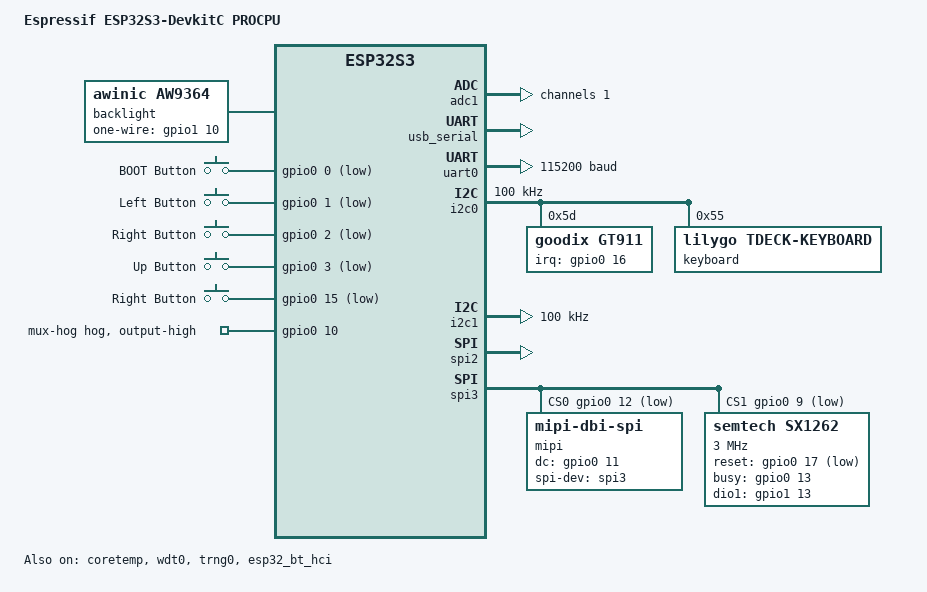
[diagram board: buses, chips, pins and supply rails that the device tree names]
/*
 * Copyright (c) 2024 Espressif Systems (Shanghai) Co., Ltd.
 *
 * SPDX-License-Identifier: Apache-2.0
 */
/dts-v1/;

#include <espressif/esp32s3/esp32s3_wroom_n16r8.dtsi>

#include <zephyr/dt-bindings/input/input-event-codes.h>
#include <zephyr/dt-bindings/input/esp32-touch-sensor-input.h>
#include <espressif/partitions_0x0_amp.dtsi>
#include "tdeck-pinctrl.dtsi"
#include <zephyr/dt-bindings/lvgl/lvgl.h>
#include <zephyr/dt-bindings/lora/sx126x.h>

/ {
	model = "Espressif ESP32S3-DevkitC PROCPU";
	compatible = "espressif,esp32s3";

	aliases {
		i2c-0 = &i2c0;
		watchdog0 = &wdt0;
		lora0 = &sx1262;
	};

	chosen {
		zephyr,sram = &sram1;
		zephyr,console = &usb_serial;
		zephyr,shell-uart = &usb_serial;
		zephyr,flash = &flash0;
		zephyr,code-partition = &slot0_partition;
		zephyr,bt-hci = &esp32_bt_hci;
		zephyr,display = &st7789v;
		zephyr,touch = &gt911;
	};

	aliases {
		uart-0 = &uart0;
		sw0 = &button0;
	};




//	leds {
//		compatible = "gpio-leds";
//		stuffenable: stuffenable0 {
//			gpios = <&gpio0 10 (GPIO_ACTIVE_HIGH)>; // IO10
//			label = "Stuff enable GPIO";
//		};
//	};
	backlight: backlight{
		compatible = "awinic,aw9364";
		status = "okay";
		one-wire-gpios = <&gpio1 10 GPIO_ACTIVE_HIGH>;
		initial-brightness = <15>;
	};

	buttons: buttons {
		compatible = "gpio-keys";
		debounce-interval-ms = <10>;

		button0: button_0 {
			gpios = <&gpio0 0 (GPIO_PULL_UP | GPIO_ACTIVE_LOW)>;
			label = "BOOT Button";
			zephyr,code = <INPUT_KEY_POWER>;
		};

		button_left: button_left {
			gpios = <&gpio0 1 (GPIO_PULL_UP | GPIO_ACTIVE_LOW)>;
			label = "Left Button";
			zephyr,code = <INPUT_KEY_LEFT>;
		};
		button_right: button_right {
			gpios = <&gpio0 2 (GPIO_PULL_UP | GPIO_ACTIVE_LOW)>;
			label = "Right Button";
			zephyr,code = <INPUT_KEY_RIGHT>;
		};

		button_up: button_up {
			gpios = <&gpio0 3 (GPIO_PULL_UP | GPIO_ACTIVE_LOW)>;
			label = "Up Button";
			zephyr,code = <INPUT_KEY_UP>;
		};
		button_down: button_down {
			gpios = <&gpio0 15 (GPIO_PULL_UP | GPIO_ACTIVE_LOW)>;
			label = "Right Button";
			zephyr,code = <INPUT_KEY_DOWN>;
		};
	};

	lvgl_pointer: lvgl_pointer {
		compatible = "zephyr,lvgl-pointer-input";
		status="okay";
		input = <&gt911>;
		swap-xy;
		invert-y;
	};

	lvgl_keypad_input {
			compatible = "zephyr,lvgl-keypad-input";
			input = <&buttons>;
			input-codes = <INPUT_KEY_UP INPUT_KEY_LEFT INPUT_KEY_DOWN INPUT_KEY_RIGHT>;
			lvgl-codes = <LV_KEY_UP LV_KEY_PREV LV_KEY_DOWN LV_KEY_NEXT>;
	};



};

&adc1 {
    status = "okay";
    #address-cells = <1>;
    #size-cells = <0>;

    channel@1 {
        reg = <1>;
        zephyr,gain = "ADC_GAIN_1";
        zephyr,reference = "ADC_REF_INTERNAL";
        zephyr,acquisition-time = <ADC_ACQ_TIME_DEFAULT>;
        zephyr,resolution = <12>;
		zephyr,vref-mv = <3300>;
    };
};
&coretemp{
	status = "okay";
};

&usb_serial {
	status = "okay";
};

&uart0 {
	status = "okay";
	current-speed = <115200>;
	pinctrl-0 = <&uart0_default>;
	pinctrl-names = "default";
};

&gpio0 {
	status = "okay";
	mux-hog {
		// Temporary: PWR_EN to turn on screen, keyboard
		// Really should be CONFIG_PM power domain but for some reason that crashes everything
		gpio-hog;
		gpios = <10 GPIO_ACTIVE_HIGH>;
		output-high;
	};

};

&gpio1 {
	status = "okay";
};


&i2c0 {
	clock-frequency = <I2C_BITRATE_STANDARD>;
	pinctrl-0 = <&i2c0_default>;
	pinctrl-names = "default";
	status = "okay";


	gt911: gt911@5d{
		status = "okay";
		compatible = "goodix,gt911";
		reg = <0x5d>;
		irq-gpios = <&gpio0 16 GPIO_ACTIVE_HIGH>;
	};

	// Keyboard
	keyboard: keyboard@55{
		status = "okay";
		compatible = "lilygo,tdeck-keyboard";
		reg = <0x55>;
		initial-brightness = <200>;
		// interrupt-gpios = <&gpio 14 GPIO_ACTIVE_HIGH>;
	};
};

&i2c1 {
	clock-frequency = <I2C_BITRATE_STANDARD>;
	pinctrl-0 = <&i2c1_default>;
	pinctrl-names = "default";


};

&i2s0 {
	pinctrl-0 = <&i2s0_default>;
	pinctrl-names = "default";
	status = "disabled";
};

&i2s1 {
	pinctrl-0 = <&i2s1_default>;
	pinctrl-names = "default";
	status = "disabled";
};

&spi2 {
	#address-cells = <1>;
	#size-cells = <0>;
	status = "okay";
	pinctrl-0 = <&spim2_default>;
	pinctrl-names = "default";
};




&spi3 {
	#address-cells = <1>;
	#size-cells = <0>;
	status = "okay";
	pinctrl-0 = <&spim3_default>;
	pinctrl-names = "default";
	status = "okay";

	
	cs-gpios =  <&gpio0 12 GPIO_ACTIVE_LOW>, // LCD CS
				<&gpio0 9 GPIO_ACTIVE_LOW>, // LORA CS
				<&gpio1 7 GPIO_ACTIVE_LOW>; // SD Card CS

	// Display
	mipi@0{
		compatible = "zephyr,mipi-dbi-spi";
		reg = <0>;
		spi-dev = <&spi3>;
		dc-gpios = <&gpio0 11 GPIO_ACTIVE_HIGH>;
		write-only;
		#address-cells = <1>;
		#size-cells = <0>;
		st7789v: st7789v@0 {
			compatible = "sitronix,st7789v";
			reg = <0>;
			mipi-mode = "MIPI_DBI_MODE_SPI_4WIRE";
			mipi-max-frequency = <20000000>;
			vcom = <0x1A>;
			gctrl = <0x75>;
			vrhs = <0x13>;
			vdvs = <0x20>;

			/* Landscape */
			width = <320>;
			height = <240>;
			x-offset = <0>;
			y-offset = <0>;
			mdac = <0x60>; 
			colmod = <0x05>; // c
			gamma = <0x01>; // default
			lcm = <0x2C>; // c
			porch-param = [0C 0C 00 33 33]; // c
			cmd2en-param = [5A 69 02 00]; // default from datasheet. not set by tft?
			pwctrl1-param = [A4 A1]; // c
			pvgam-param = [D0 0D 14 0D 0D 09 38 44 4E 3A 17 18 2F 30]; // c
			nvgam-param = [D0 09 0F 08 07 14 37 44 4D 38 15 16 2C 3E]; // c

			ram-param = [00 E0]; 
			rgb-param = [40 02 14]; //default from datasheet
		};
	};
	sx1262: sx1262@1 {
			compatible = "semtech,sx1262";
			reg = <0x01>;
			spi-max-frequency = <3000000>;

			dio2-tx-enable;
			dio3-tcxo-voltage = <SX126X_DIO3_TCXO_1V8>;
			tcxo-power-startup-delay-ms = <100>;
			
			reset-gpios = <&gpio0 17 GPIO_ACTIVE_LOW>; 

			busy-gpios = <&gpio0 13 (GPIO_PULL_DOWN | GPIO_ACTIVE_HIGH)>;
			dio1-gpios = <&gpio1 13 (GPIO_PULL_DOWN | GPIO_ACTIVE_HIGH)>;

	};


};

&twai {
	pinctrl-0 = <&twai_default>;
	pinctrl-names = "default";
};

&timer0 {
	status = "disabled";
};

&timer1 {
	status = "disabled";
};

&timer2 {
	status = "disabled";
};

&timer3 {
	status = "disabled";
};

&wdt0 {
	status = "okay";
};

&trng0 {
	status = "okay";
};

&esp32_bt_hci {
	status = "okay";
};
